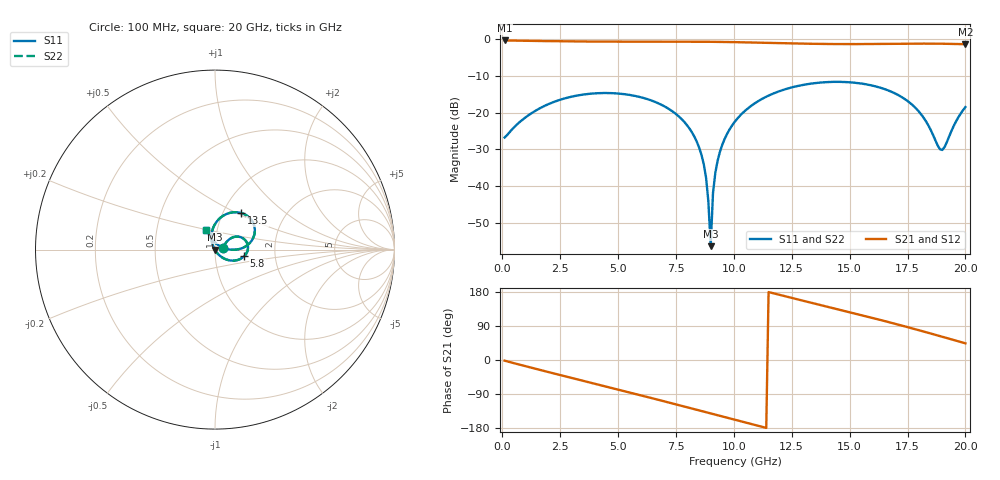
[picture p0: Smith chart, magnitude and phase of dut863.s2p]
! Touchstone file exported from HFSS 2026.1.0
!  File:  C:/ffzhzh/LocalFiles/Ansys_Project_Files/temp_train_TSV_RDL_863_1783271338_38820.aedt
!  Generated:  01:17:08 AM Jul  6, 2026
!  Design:  TSV_RDL
!  Project:  temp_train_TSV_RDL_863_1783271338_38820
! Variables:
!  h_bsmrdl = 5.54um
!  h_ox = 20um
!  h_rdl = 5um
!  h_sub = 76um
!  h_tmrdl = 2.63um
!  h_tsv = 76um
!  h_via = 3um
!  l_bsmrdl = 423.89um
!  l_sub = 4849.12um
!  l_tmrdl = 773.97um
!  m_sub = 200um
!  pitch = 20.28um
!  r_tsv = 7.58um
!  s_tmrdl = 10um
!  w_bsmrdl = 16.94um
!  w_sub = 500um
!  w_tmrdl = 10.25um
!  x_tsv_center1 = 779.095um
!  x_tsv_center2 = 1219.925um
!  x_tsv_center3 = 2004.145um
!  x_tsv_center4 = 2444.975um
!  x_tsv_center5 = 3229.195um
!  x_tsv_center6 = 3670.025um
# GHz S MA R 50.000000
! Terminal data exported
! Port[1] = TM_RDL1_1_T1
! Port[2] = TM_RDL5_1_T1
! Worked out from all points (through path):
!   200 points, 100 MHz to 20 GHz, reference 50 ohm
!   highest |S21| = -0.40 dB at 100 MHz (marker M1); lowest = -1.4 dB at 20 GHz (marker M2)
!   group delay of S21, straight-line fit = 43.4 ps
!   lowest |S11| = -56.3 dB at 9 GHz (marker M3), VSWR 1.00, Z = 49.8 + j0.0219 ohm
!   |S11| at or under -10 dB: start of sweep to end of sweep
!   |S22| runs from -54.6 to -11.7 dB; largest |S21 - S12| = 1.6e-14
!   S11 on the Smith chart (normalised r, x): 100 MHz: 1.09, +0.02; 5.8 GHz: 1.38, -0.11; 13.5 GHz: 1.22, +0.53; 20 GHz: 0.89, +0.19
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0.1  0.04589 9.2  0.9549 -1.7  0.9549 -1.7  0.04589 9.2
! Gamma 0 0 0 0
! Port Impedance 50 0 50 0
1.6  0.1134 35.2  0.9386 -25.7  0.9386 -25.7  0.1135 35.2
3.5  0.1759 17.7  0.9247 -55.1  0.9247 -55.1  0.1759 17.6
5.8  0.1668 -12.8  0.9202 -90.4  0.9202 -90.4  0.1668 -12.9
6.8  0.131 -27.3  0.9212 -106.0  0.9212 -106.0  0.131 -27.4
7.8  0.07823 -42.5  0.9209 -121.8  0.9209 -121.8  0.07828 -42.7
8.5  0.03354 -54.2  0.9188 -133.0  0.9188 -133.0  0.03361 -54.9
8.8  0.01308 -62.0  0.9172 -137.8  0.9172 -137.8  0.01317 -63.8
8.9  0.006177 -69.4  0.9166 -139.4  0.9166 -139.4  0.006318 -73.1
9  0.001531 171.8  0.9159 -141.0  0.9159 -141.0  0.001861 -178.9
9.1  0.008097 127.2  0.9151 -142.7  0.9151 -142.7  0.008125 130.3
9.3  0.02225 118.7  0.9135 -145.9  0.9135 -145.9  0.02223 119.9
9.6  0.04367 112.7  0.9107 -150.7  0.9107 -150.7  0.04364 113.3
10.1  0.07921 104.4  0.9051 -158.7  0.9051 -158.7  0.07916 104.7
11.4  0.1643 84.4  0.8867 -179.2  0.8867 -179.2  0.1642 84.6
13.4  0.2491 55.5  0.86 150.3  0.86 150.3  0.249 55.6
13.5  0.2513 54.1  0.8591 148.8  0.8591 148.8  0.2512 54.2
15.2  0.2548 30.6  0.8523 123.1  0.8523 123.1  0.2547 30.7
16.7  0.1981 10.9  0.8586 99.8  0.8586 99.8  0.198 11.0
17.9  0.1111 -0.5  0.8645 80.2  0.8645 80.2  0.111 -0.2
19  0.03105 61.6  0.862 61.4  0.862 61.4  0.03142 61.9
20  0.1189 114.5  0.848 44.0  0.848 44.0  0.1191 114.3
